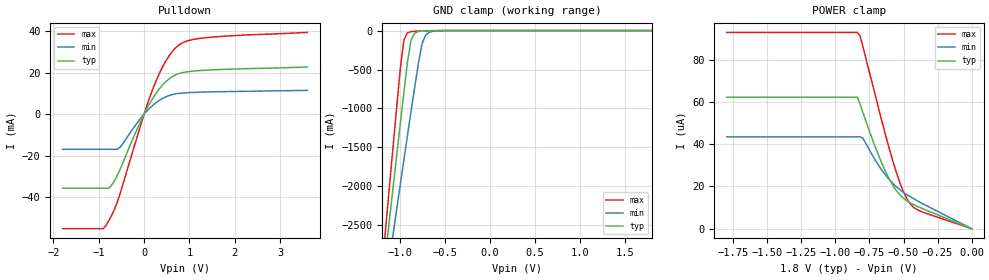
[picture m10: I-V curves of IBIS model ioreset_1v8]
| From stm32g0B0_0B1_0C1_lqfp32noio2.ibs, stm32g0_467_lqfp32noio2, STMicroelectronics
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|   Model ioreset_1v8
[Model]  ioreset_1v8
Model_type I/O_open_drain
Polarity   Inverting
Enable   Active-High
Vinl =   0.540000V
Vinh =   1.260000V
Vmeas =  0.900000V
Cref =   100.000000nF
Rref =   1.000000k
Vref =   1.800000V
C_comp   0.473010pF   0.460860pF   0.564710pF
[Temperature Range]   25.000000   0.125000k   -40.000000
[Pullup Reference]   1.800000V   1.600000V   2.000000V
[Pulldown Reference]   0.0V   0.0V   0.0V
[POWER Clamp Reference]   1.800000V   1.600000V   2.000000V
[GND Clamp Reference]   0.0V   0.0V   0.0V
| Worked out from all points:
|   slope of the pulldown table from 0 to 0.27 V, typ, clamps not added: 26.4 ohm
|   GND clamp passes 1 mA (typ) near -0.60 V on its own axis
[Pulldown]
|Voltage   I(typ)   I(min)   I(max)
-1.8V     -35.57mA   -16.85mA   -55.04mA
-900mV    -35.57mA   -16.85mA   -55.04mA
-840mV    -35.57mA   -16.85mA   -53.46mA
-720mV    -34.24mA   -16.85mA   -48.8mA
-540mV    -26.98mA   -16.06mA   -38.83mA
-60mV     -2.693mA   -1.52mA    -4.162mA
240mV     9.344mA    5.185mA    14.82mA
480mV     15.7mA     8.411mA    25.67mA
720mV     19.21mA    9.912mA    32.49mA
960mV     20.48mA    10.39mA    35.34mA
1.32V     21.16mA    10.68mA    36.74mA
3.6V      22.74mA    11.51mA    39.4mA
[GND_clamp]
|Voltage   I(typ)   I(min)   I(max)
-1.8V     -9.477A    -8.509A    -9.704A
-1.2V     -3.243A    -3.574A    -3.012A
-1.16V    -2.83A     -3.252A    -2.501A
-1.12V    -2.418A    -2.932A    -1.991A
-1.08V    -2.008A    -2.612A    -1.484A
-1V       -1.194A    -1.975A    -486.6mA
-960mV    -792.8mA   -1.659A    -118.4mA
-920mV    -402mA     -1.345A    -29.21mA
-880mV    -117.9mA   -1.034A    -12.85mA
-760mV    -5.956mA   -176.1mA   -5.379mA
-680mV    -2.455mA   -23.94mA   -2.76mA
1.8V      0A         0A         0A
[POWER_clamp]
|Voltage   I(typ)   I(min)   I(max)
-1.8V     62.29uA    43.51uA    93.01uA
-840mV    62.29uA    43.51uA    93.01uA
-820mV    59.25uA    43.51uA    91.5uA
-800mV    55.41uA    42.97uA    86.53uA
-700mV    37.44uA    31.68uA    61.29uA
-620mV    25.45uA    24.39uA    41.51uA
-580mV    20.7uA     21.55uA    32.43uA
-540mV    17.01uA    19.18uA    24.28uA
-480mV    13.41uA    16.32uA    14.73uA
-440mV    11.87uA    14.72uA    10.94uA
-400mV    10.63uA    13.26uA    9.03uA
0V        0A         0A         0A
[Ramp]
| variable   typ   min   max
dV/dt_r  1.07940/0.30020u   0.95906/0.30011u   1.19957/0.30008u
dV/dt_f  1.07940/13.44591n   0.95906/23.73127n   1.19957/9.52461n
R_load = 40.000000k
